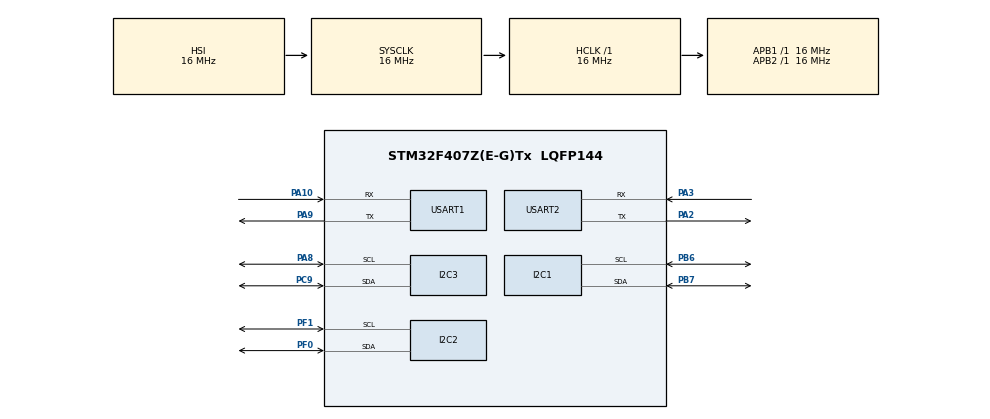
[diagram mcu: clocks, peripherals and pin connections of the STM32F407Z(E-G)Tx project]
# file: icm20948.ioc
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I2C1.I2C_Mode=I2C_Fast
I2C2.I2C_Mode=I2C_Fast
I2C3.I2C_Mode=I2C_Fast
Mcu.Family=STM32F4
Mcu.Name=STM32F407Z(E-G)Tx
Mcu.Package=LQFP144
NVIC.PriorityGroup=NVIC_PRIORITYGROUP_4
PA10.Mode=Asynchronous
PA10.Signal=USART1_RX
PA2.Mode=Asynchronous
PA2.Signal=USART2_TX
PA3.Mode=Asynchronous
PA3.Signal=USART2_RX
PA8.Mode=I2C
PA8.Signal=I2C3_SCL
PA9.Mode=Asynchronous
PA9.Signal=USART1_TX
PB6.Mode=I2C
PB6.Signal=I2C1_SCL
PB7.Mode=I2C
PB7.Signal=I2C1_SDA
PC9.Mode=I2C
PC9.Signal=I2C3_SDA
PF0.Mode=I2C
PF0.Signal=I2C2_SDA
PF1.Mode=I2C
PF1.Signal=I2C2_SCL
ProjectManager.HeapSize=0x200
ProjectManager.StackSize=0x400
ProjectManager.TargetToolchain=CMake
RCC.AHBFreq_Value=16000000
RCC.APB1Freq_Value=16000000
RCC.APB2Freq_Value=16000000
RCC.CortexFreq_Value=16000000
RCC.HSE_VALUE=25000000
RCC.HSI_VALUE=16000000
RCC.LSE_VALUE=32768
RCC.SYSCLKFreq_VALUE=16000000
RCC.VCOOutputFreq_Value=192000000
USART1.VirtualMode=VM_ASYNC
USART2.VirtualMode=VM_ASYNC
board=custom

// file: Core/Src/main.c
/* USER CODE BEGIN Header */
/**
  ******************************************************************************
  * @file           : main.c
  * @brief          : Main program body
  ******************************************************************************
  * @attention
  *
  * Copyright (c) 2026 STMicroelectronics.
  * All rights reserved.
  *
  * This software is licensed under terms that can be found in the LICENSE file
  * in the root directory of this software component.
  * If no LICENSE file comes with this software, it is provided AS-IS.
  *
  ******************************************************************************
  */
/* USER CODE END Header */
#include "main.h"
#include "i2c.h"
#include "stm32f4xx_hal.h"
#include "usart.h"
#include "gpio.h"

/* USER CODE BEGIN Includes */
  #include "i2c.h"
  #include "usart.h"
  #include "gpio.h"
  #include "stdio.h"

/* USER CODE END Includes */

/* USER CODE BEGIN PD */
#define ICM20948_ADDR         0x68
#define WHO_AM_I        0x00    // 读ID，应为0xEA
#define PWR_MGMT_1      0x06    // 电源管理1
#define ACCEL_XOUT_H    0x2D    // 加速度X轴高字节
#define GYRO_XOUT_H     0x33    // 陀螺仪X轴高字节
/* USER CODE END PD */

/* USER CODE BEGIN PV */
int16_t ax, ay, az;
int16_t gx, gy, gz;
int16_t temp=-1;
/* USER CODE END PV */

void SystemClock_Config(void);

/* USER CODE BEGIN 0 */

// 向ICM20948的指定寄存器写入一个字节
void ICM20948_WriteReg(uint8_t reg, uint8_t data) {
    HAL_I2C_Mem_Write(&hi2c1, ICM20948_ADDR << 1, reg, I2C_MEMADD_SIZE_8BIT, &data, 1, HAL_MAX_DELAY);
}

// 从ICM20948的指定寄存器读出一个字节
uint8_t ICM20948_ReadReg(uint8_t reg) {
    uint8_t data = 0;
    HAL_I2C_Mem_Read(&hi2c1, ICM20948_ADDR << 1, reg, I2C_MEMADD_SIZE_8BIT, &data, 1, HAL_MAX_DELAY);
    return data;
}

// 初始化ICM20948
uint8_t ICM20948_Init(void) {
    // 1. 唤醒设备：选择时钟源(推荐使用PLL X轴陀螺参考时钟，值设为1)
    ICM20948_WriteReg(PWR_MGMT_1, 0x01);
    HAL_Delay(100); // 等待时钟源稳定

    // 2. 验证设备：读取WHO_AM_I寄存器
    uint8_t whoami = ICM20948_ReadReg(WHO_AM_I);
    if (whoami != 0xEA) {
        printf("FAIL\r\n");
        return 1; // 设备ID错误，初始化失败
    }

    // 3. 配置加速度计：±2g量程，低噪声模式
    ICM20948_WriteReg(0x14, 0x02); // ACCEL_CONFIG: 量程配置为±2g
    ICM20948_WriteReg(0x15, 0x03); // ACCEL_CONFIG_2: 带宽218.1Hz

    // 4. 配置陀螺仪：±250dps量程
    ICM20948_WriteReg(0x12, 0x03); // GYRO_CONFIG_1: 量程配置为±250dps
    ICM20948_WriteReg(0x13, 0x03); // GYRO_CONFIG_2: 带宽218.1Hz

    return 0; // 初始化成功
}

void ICM20948_ReadAll(int16_t *ax, int16_t *ay, int16_t *az,
                      int16_t *gx, int16_t *gy, int16_t *gz,
                      int16_t *temp) {
    uint8_t data[20] = {0};

    // 从ACCEL_XOUT_H (0x2D) 开始连续读取14字节
    // 地址顺序: ACCEL_XOUT_H/L, ACCEL_YOUT_H/L, ACCEL_ZOUT_H/L,
    //          TEMP_OUT_H/L, GYRO_XOUT_H/L, GYRO_YOUT_H/L, GYRO_ZOUT_H/L
    HAL_StatusTypeDef status = HAL_I2C_Mem_Read(&hi2c1, ICM20948_ADDR << 1,
                                                 0x2D, I2C_MEMADD_SIZE_8BIT,
                                                 data, 14, 100);

    if(status != HAL_OK) {
        printf("I2C read error: %d\n", status);
        return;
    }

    // 合成16位数据（注意字节顺序：高字节在前）
    *ax = (int16_t)((data[0] << 8) | data[1]);
    *ay = (int16_t)((data[2] << 8) | data[3]);
    *az = (int16_t)((data[4] << 8) | data[5]);
    *temp = (int16_t)((data[6] << 8) | data[7]);
    *gx = (int16_t)((data[8] << 8) | data[9]);
    *gy = (int16_t)((data[10] << 8) | data[11]);
    *gz = (int16_t)((data[12] << 8) | data[13]);
}

uint8_t ICM20948_DataReady(void) {
    // 读取状态寄存器
    uint8_t status = ICM20948_ReadReg(0x1C);  // INT_STATUS
    return (status & 0x01);  // RAW_DATA_0_RDY_INT
}
/* USER CODE END 0 */

int main(void)
{

  /* MCU Configuration--------------------------------------------------------*/

  /* Reset of all peripherals, Initializes the Flash interface and the Systick. */
  HAL_Init();

  /* USER CODE BEGIN Init */
  HAL_Init();
  /* USER CODE END Init */

  /* Configure the system clock */
  SystemClock_Config();

  /* Initialize all configured peripherals */
  MX_GPIO_Init();
  MX_I2C1_Init();
  MX_I2C2_Init();
  MX_I2C3_Init();
  MX_USART1_UART_Init();
  MX_USART2_UART_Init();
  /* USER CODE BEGIN 2 */
  /*char msg[]="Hello World!";
  printf("%s",msg);*/
  /* USER CODE END 2 */

  /* Infinite loop */
  while (1)
  {

    if(ICM20948_DataReady())
    {
      ICM20948_ReadAll(&ax, &ay, &az, &gx, &gy, &gz, &temp);
      printf("ACCEL: %6d %6d %6d\r\n", ax, ay, az);
    }
    else
    {
      printf("Data not ready\r\n");
    }
    HAL_Delay(100);
  }
}

void SystemClock_Config(void)
{
  RCC_OscInitTypeDef RCC_OscInitStruct = {0};
  RCC_ClkInitTypeDef RCC_ClkInitStruct = {0};

  /** Configure the main internal regulator output voltage
  */
  __HAL_RCC_PWR_CLK_ENABLE();
  __HAL_PWR_VOLTAGESCALING_CONFIG(PWR_REGULATOR_VOLTAGE_SCALE1);

  /** Initializes the RCC Oscillators according to the specified parameters
  * in the RCC_OscInitTypeDef structure.
  */
  RCC_OscInitStruct.OscillatorType = RCC_OSCILLATORTYPE_HSI;
  RCC_OscInitStruct.HSIState = RCC_HSI_ON;
  RCC_OscInitStruct.HSICalibrationValue = RCC_HSICALIBRATION_DEFAULT;
  RCC_OscInitStruct.PLL.PLLState = RCC_PLL_NONE;
  if (HAL_RCC_OscConfig(&RCC_OscInitStruct) != HAL_OK)
  {
    Error_Handler();
  }

  /** Initializes the CPU, AHB and APB buses clocks
  */
  RCC_ClkInitStruct.ClockType = RCC_CLOCKTYPE_HCLK|RCC_CLOCKTYPE_SYSCLK
                              |RCC_CLOCKTYPE_PCLK1|RCC_CLOCKTYPE_PCLK2;
  RCC_ClkInitStruct.SYSCLKSource = RCC_SYSCLKSOURCE_HSI;
  RCC_ClkInitStruct.AHBCLKDivider = RCC_SYSCLK_DIV1;
  RCC_ClkInitStruct.APB1CLKDivider = RCC_HCLK_DIV1;
  RCC_ClkInitStruct.APB2CLKDivider = RCC_HCLK_DIV1;

  if (HAL_RCC_ClockConfig(&RCC_ClkInitStruct, FLASH_LATENCY_0) != HAL_OK)
  {
    Error_Handler();
  }
}

void Error_Handler(void)
{
  __disable_irq();
  while (1)
  {
  }
}
